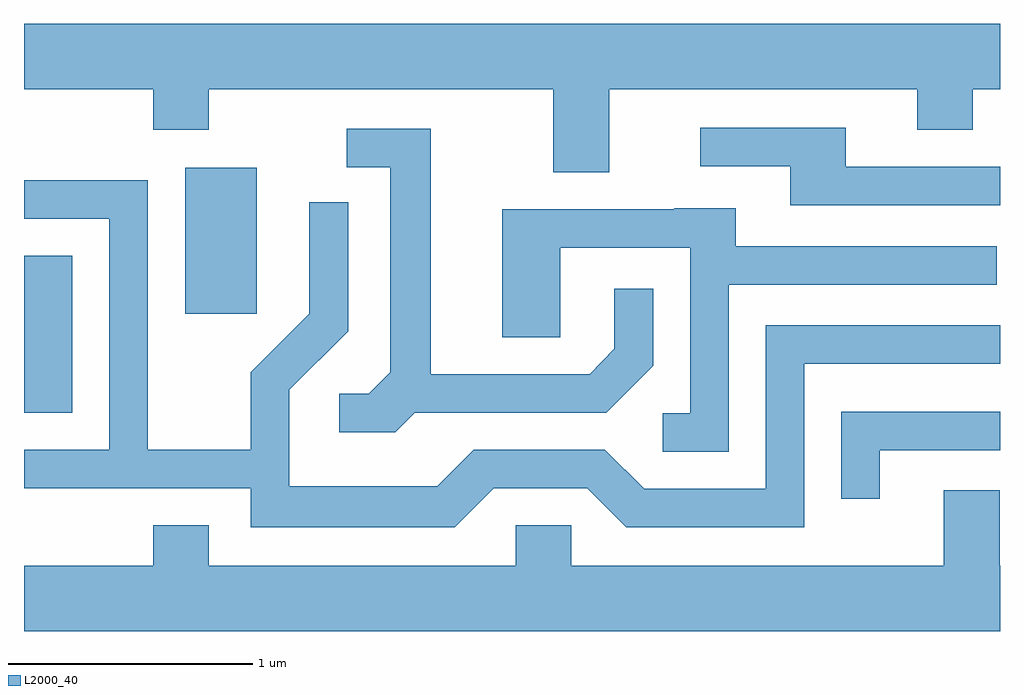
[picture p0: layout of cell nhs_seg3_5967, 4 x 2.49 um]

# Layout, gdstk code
import gdstk
lib = gdstk.Library(unit=1e-6, precision=1e-09)
def R(c, l, rs):  # rectangles x0, y0, x1, y1
    for r in rs: c.add(gdstk.rectangle(r[:2], r[2:], *l))
def P(c, l, *ps):  # polygons
    for p in ps: c.add(gdstk.Polygon(p, *l))
L2000_40 = (2000, 40)

nhs_seg3_5967 = lib.new_cell('nhs_seg3_5967')
R(nhs_seg3_5967, L2000_40, [(359.611,1226.811,359.809,1227.454), (360.271,1227.216,360.564,1227.814)])
P(nhs_seg3_5967, L2000_40, [(362.009,1228.136),(363.271,1228.136),(363.271,1227.971),(363.499,1227.971),(363.499,1228.136),(363.611,1228.136),(363.611,1228.404),(359.611,1228.404),(359.611,1228.136),(360.141,1228.136),(360.141,1227.971),(360.369,1227.971),(360.369,1228.136),(361.781,1228.136),(361.781,1227.796),(362.009,1227.796)],
  [(363.611,1227.819),(362.979,1227.819),(362.979,1227.979),(362.383,1227.979),(362.383,1227.821),(362.751,1227.821),(362.751,1227.661),(363.611,1227.661)],
  [(361.212,1226.811),(361.997,1226.811),(362.189,1227.004),(362.189,1227.318),(362.031,1227.318),(362.031,1227.072),(361.929,1226.969),(361.279,1226.969),(361.279,1227.974),(360.933,1227.974),(360.933,1227.816),(361.111,1227.816),(361.111,1226.977),(361.024,1226.889),(360.903,1226.889),(360.903,1226.731),(361.132,1226.731)],
  [(361.537,1226.501),(361.919,1226.501),(362.079,1226.341),(362.809,1226.341),(362.809,1227.011),(363.611,1227.011),(363.611,1227.169),(362.651,1227.169),(362.651,1226.499),(362.152,1226.499),(361.992,1226.659),(361.454,1226.659),(361.304,1226.509),(360.699,1226.509),(360.699,1226.904),(360.939,1227.144),(360.939,1227.673),(360.781,1227.673),(360.781,1227.217),(360.541,1226.977),(360.541,1226.659),(360.119,1226.659),(360.119,1227.764),(359.613,1227.764),(359.613,1227.606),(359.961,1227.606),(359.961,1226.659),(359.613,1226.659),(359.613,1226.501),(360.541,1226.501),(360.541,1226.341),(361.377,1226.341)],
  [(362.499,1227.336),(363.598,1227.336),(363.598,1227.494),(362.529,1227.494),(362.529,1227.649),(362.275,1227.649),(362.275,1227.644),(361.571,1227.644),(361.571,1227.121),(361.809,1227.121),(361.809,1227.486),(362.341,1227.486),(362.341,1226.809),(362.228,1226.809),(362.228,1226.651),(362.499,1226.651)],
  [(363.119,1226.656),(363.611,1226.656),(363.611,1226.814),(362.961,1226.814),(362.961,1226.458),(363.119,1226.458)],
  [(363.611,1226.184),(363.609,1226.184),(363.609,1226.494),(363.381,1226.494),(363.381,1226.184),(361.854,1226.184),(361.854,1226.349),(361.626,1226.349),(361.626,1226.184),(360.369,1226.184),(360.369,1226.349),(360.141,1226.349),(360.141,1226.184),(359.611,1226.184),(359.611,1225.916),(363.611,1225.916)])

lib.write_gds('nhs_seg3_5967.gds')
